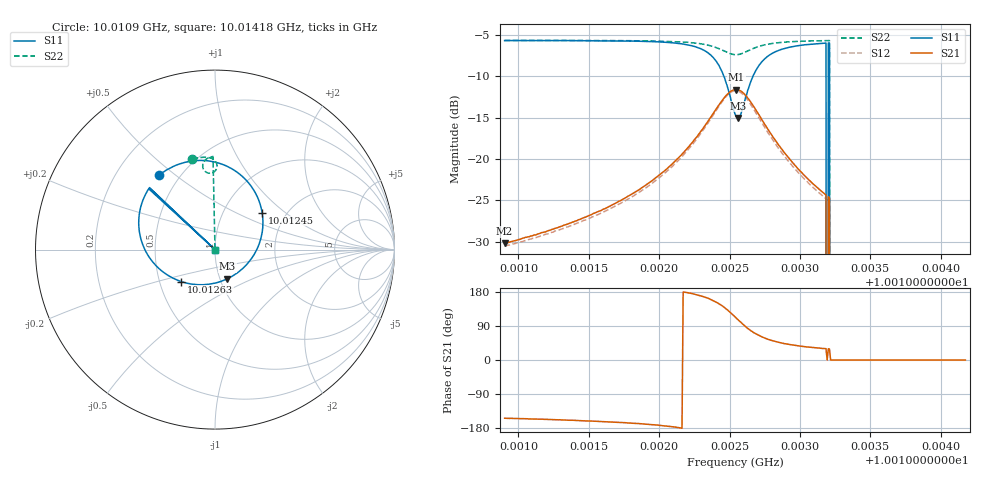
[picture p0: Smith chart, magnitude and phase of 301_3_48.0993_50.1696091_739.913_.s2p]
#  HZ  S  RI  R  50.00
! Rohde & Schwarz Vector Network Analyzer
! Rohde-Schwarz,ZNB20-2Port,1311601062101988,3.16
! Created: UTC 12/23/2023, 4:04:46 AM
! freq[Hz]  re:S11  im:S11  re:S21  im:S21  re:S12  im:S12  re:S22  im:S22
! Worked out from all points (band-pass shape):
!   401 points, 10.0109 GHz to 10.01418 GHz, reference 50 ohm
!   highest |S21| = -11.61 dB at 10.01255 GHz (marker M1); lowest = -30.2 dB at 10.0109 GHz (marker M2)
!   |S21| within 3 dB of the highest: 10.01238 GHz to 10.01271 GHz (326.4 kHz wide, 0.00326 % of centre)
!   lowest |S11| = -15.1 dB at 10.01256 GHz (marker M3), VSWR 1.43, Z = 54.3 - j18.2 ohm
!   |S11| at or under -10 dB: 10.01246 GHz to 10.01267 GHz (207.2 kHz wide, 0.00207 % of centre); 10.01319 GHz to 10.0132 GHz (16.03 kHz wide, 0.00016 % of centre); 10.01321 GHz to end of sweep
!   |S22| runs from - to -5.7 dB; largest |S21 - S12| = 0.057
!   S11 on the Smith chart (normalised r, x): 10.0109 GHz: 0.39, +0.44; 10.01245 GHz: 1.52, +0.70; 10.01263 GHz: 0.65, -0.25; 10.01418 GHz: 1.00, +0.00
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1.0010901e10  -0.3095 0.4168  -0.0276 -0.0137  -0.0257 -0.0147  -0.1254 0.5046
1.001145e10  -0.251 0.454  -0.041 -0.0147  -0.0385 -0.0164  -0.0867 0.5124
1.0011998e10  -0.1248 0.4942  -0.0787 -0.0108  -0.0754 -0.0146  -0.0396 0.5137
1.0012293e10  0.0808 0.4574  -0.143 0.0265  -0.1405 0.0172  -0.00192 0.4969
1.0012375e10  0.1855 0.3735  -0.1705 0.0681  -0.1703 0.0566  0.0091 0.4799
1.0012449e10  0.2625 0.2063  -0.1802 0.1365  -0.1838 0.1261  0.00982 0.4543
1.0012539e10  0.1549 -0.105  -0.1067 0.2397  -0.1131 0.2322  -0.0223 0.4259
1.0012547e10  0.1277 -0.1274  -0.0944 0.2451  -0.1006 0.2379  -0.0271 0.4256
1.0012563e10  0.0696 -0.1623  -0.0703 0.2517  -0.0751 0.2449  -0.0359 0.4262
1.0012629e10  -0.1878 -0.1786  0.027 0.2319  0.0189 0.2262  -0.0625 0.4448
1.0012694e10  -0.3432 -0.0732  0.073 0.1789  0.0663 0.1732  -0.0684 0.4695
1.0012768e10  -0.4118 0.0553  0.0873 0.1257  0.0791 0.1232  -0.0622 0.4889
1.0012907e10  -0.4199 0.2097  0.0777 0.0698  0.0709 0.0696  -0.044 0.5073
1.0013087e10  -0.3873 0.3075  0.0597 0.0391  0.055 0.0397  -0.0232 0.5163
1.0013169e10  -0.3723 0.3343  0.0537 0.0313  0.0494 0.0323  -0.0151 0.5182
1.0013177e10  -0.3706 0.3369  0.0529 0.0308  0.0488 0.0315  -0.0144 0.5184
1.0013194e10  0 0  0 0  0.048 0.0302  -0.0127 0.5186
1.001321e10  -0.3649 0.3456  0.0508 0.0283  0.0469 0.0294  -0.0112 0.519
1.0013218e10  0 0  0 0  0 0  0 0
1.0013235e10  0 0  0 0  0 0  0 0
1.0013636e10  0 0  0 0  0 0  0 0
1.0014176e10  0 0  0 0  0 0  0 0
